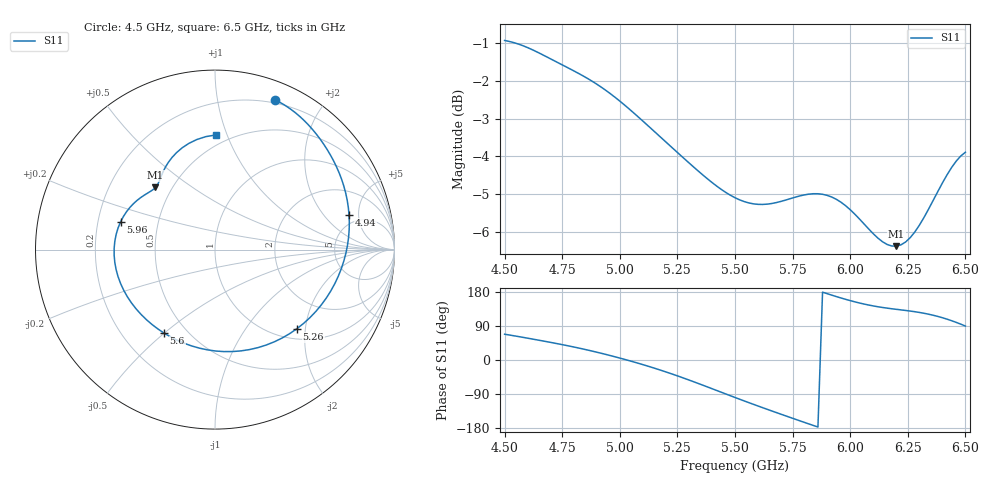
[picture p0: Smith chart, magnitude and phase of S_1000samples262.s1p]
! TOUCHSTONE file generated by CST MICROWAVE STUDIO
! Date and time: Thu Oct 27 13:39:58 2022
! Project name: L.cst
! Parameters = {Di=1.27; Epsilon_r=1.56; InnerDiameter=1.27; Length=2; Lf=10; Lg=60; OuterConductorThickness=0.2921; OuterDiameter=3.6; Wf=3; Wp=41.2; de=1.5; df=6.8; g=0.8; gx=2.02348; gy=1.45413; h=2.34; hf=1.524; px=10.4512; py=11.7208; w=9.7; wx=8.42769; wy=10.2666}
! Header version: 2018
! Port assignment regex: !\s*Touchstone port\s*([0-9]+)\s*=\s*(CST MWS port|CST DS port)\s*([0-9]+|Zmin|Zmax)\s*\(\"(.*)\"\)(\s*mode\s*([0-9]+))?.*
! Touchstone port assignment:
! Touchstone port 1 = CST MWS port 1 ("")
# GHz S DB R 50
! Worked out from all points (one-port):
!   101 points, 4.5 GHz to 6.5 GHz, reference 50 ohm
!   lowest |S11| = -6.4 dB at 6.2 GHz (marker M1), VSWR 2.84, Z = 20.3 + j18.3 ohm
!   |S11| at or under -10 dB: nowhere
!   S11 on the Smith chart (normalised r, x): 4.5 GHz: 0.17, +1.47; 4.94 GHz: 3.96, +3.81; 5.26 GHz: 1.22, -1.80; 5.6 GHz: 0.38, -0.50; 5.96 GHz: 0.30, +0.13; 6.5 GHz: 0.42, +0.91
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4.5  -0.92 68.0
4.62  -1.17 55.4
4.76  -1.60 39.3
4.86  -1.93 26.3
4.94  -2.25 14.6
5  -2.53 5.1
5.06  -2.85 -5.1
5.12  -3.17 -15.9
5.18  -3.51 -27.4
5.26  -3.95 -44.0
5.32  -4.28 -57.3
5.38  -4.59 -71.0
5.44  -4.88 -85.0
5.5  -5.10 -98.9
5.6  -5.27 -121.4
5.68  -5.23 -138.8
5.76  -5.09 -155.9
5.82  -5.00 -168.6
5.86  -4.99 -176.9
5.96  -5.22 163.7
6  -5.42 156.7
6.08  -5.93 145.1
6.2  -6.38 133.7
6.26  -6.16 129.2
6.34  -5.40 120.9
6.4  -4.71 111.6
6.44  -4.30 103.7
6.5  -3.89 89.5
